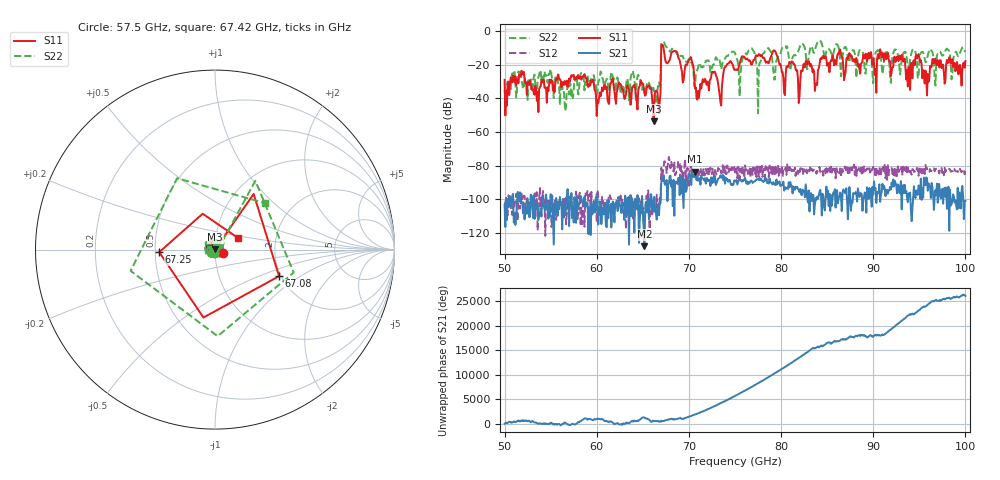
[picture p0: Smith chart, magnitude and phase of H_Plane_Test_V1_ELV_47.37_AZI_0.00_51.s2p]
! 11/27/2026 8:35:48 AM
! C:\ANRITSUVNA\TEMP\TEMP.S2P
! CHANNEL.1
! TR.MEASUREMENT
! RAW.DATA
# HZ S RI R 50.0
! FREQ.HZ  S11RE  S11IM  S21RE  S21IM  S12RE  S12IM  S22RE  S22IM
!; PortSelection: Port_12
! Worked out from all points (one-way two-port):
!   601 points, 50 GHz to 100 GHz, reference 50 ohm
!   highest |S21| = -83.73 dB at 70.67 GHz (marker M1); lowest = -128.0 dB at 65.17 GHz (marker M2)
!   lowest |S11| = -53.8 dB at 66.17 GHz (marker M3), VSWR 1.00, Z = 50.1 + j0.152 ohm
!   |S11| at or under -10 dB: start of sweep to 67 GHz; 67.24 GHz to end of sweep
!   |S22| runs from -48.9 to -5.6 dB; largest |S21 - S12| = 0.00018
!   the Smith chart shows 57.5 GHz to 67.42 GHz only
!   S11 on the Smith chart (normalised r, x): 57.5 GHz: 1.09, -0.05; 67.08 GHz: 1.95, -0.68; 67.25 GHz: 0.53, -0.02; 67.42 GHz: 1.29, +0.17
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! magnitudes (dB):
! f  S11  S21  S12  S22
! 50 GHz  -29.0  -103.5  -102.9  -35.3
! 57.5 GHz  -26.1  -113.9  -99.9  -34.5
! 58.42 GHz  -27.1  -101.9  -114.8  -24.8
! 60.17 GHz  -42.7  -115.0  -98.8  -30.1
! 65.17 GHz  -36.7  -128.0  -113.7  -36.3
! 66.17 GHz  -53.8  -107.4  -102.7  -34.0
! 66.67 GHz  -41.8  -102.8  -102.6  -31.6
! 67.08 GHz  -8.3  -88.9  -86.3  -6.8
! 67.25 GHz  -10.1  -85.8  -80.7  -6.3
! 67.42 GHz  -16.8  -91.5  -78.1  -8.4
! 70.17 GHz  -15.5  -87.1  -80.8  -18.6
! 70.67 GHz  -34.3  -83.7  -84.6  -32.7
! 75 GHz  -23.1  -88.9  -84.2  -13.0
! 77.58 GHz  -13.8  -88.6  -86.7  -21.7
! 78.5 GHz  -18.2  -90.5  -83.0  -10.8
! 79.33 GHz  -11.7  -91.4  -85.9  -28.8
! 80.25 GHz  -27.9  -89.6  -82.2  -9.4
! 83.42 GHz  -24.6  -97.4  -83.4  -10.8
! 91.67 GHz  -16.6  -94.8  -85.9  -15.2
! 94.83 GHz  -14.9  -97.4  -82.2  -28.3
! 95.83 GHz  -38.3  -87.5  -81.5  -16.4
! 100 GHz  -17.8  -101.0  -82.4  -12.5
